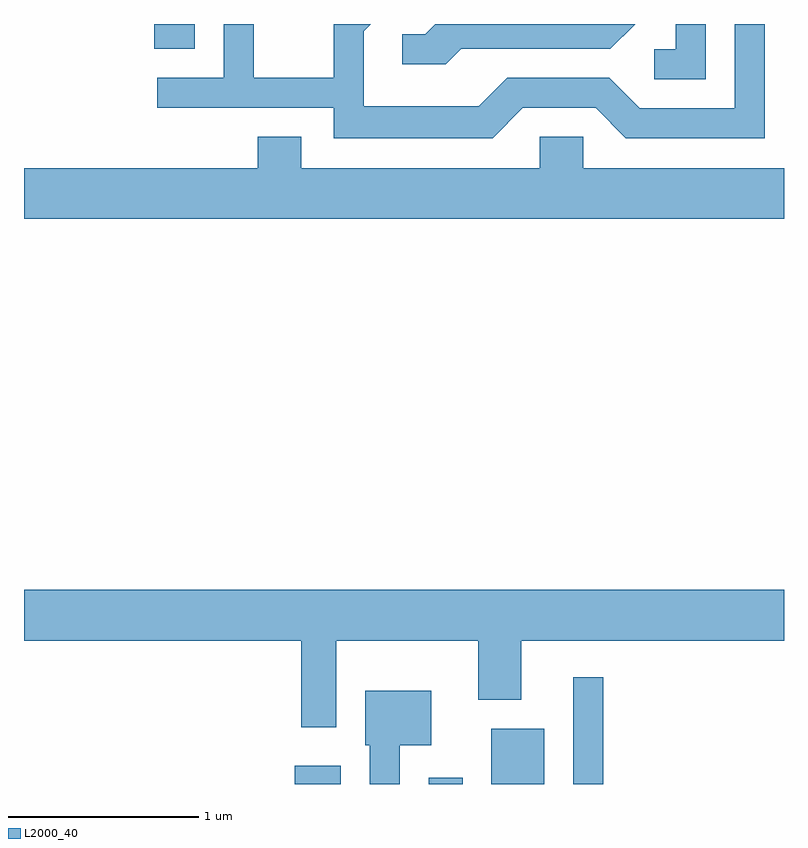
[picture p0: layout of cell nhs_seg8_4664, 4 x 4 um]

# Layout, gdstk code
import gdstk
lib = gdstk.Library(unit=1e-6, precision=1e-09)
def R(c, l, rs):  # rectangles x0, y0, x1, y1
    for r in rs: c.add(gdstk.rectangle(r[:2], r[2:], *l))
def P(c, l, *ps):  # polygons
    for p in ps: c.add(gdstk.Polygon(p, *l))
L2000_40 = (2000, 40)

nhs_seg8_4664 = lib.new_cell('nhs_seg8_4664')
R(nhs_seg8_4664, L2000_40, [(327.036,1822.342,327.279,1822.439), (327.741,1822.342,327.919,1822.374), (328.071,1822.342,328.349,1822.634), (328.501,1822.342,328.659,1822.903), (326.296,1826.211,326.509,1826.342)])
P(nhs_seg8_4664, L2000_40, [(328.237,1825.901),(328.619,1825.901),(328.779,1825.741),(329.509,1825.741),(329.509,1826.342),(329.351,1826.342),(329.351,1825.899),(328.852,1825.899),(328.692,1826.059),(328.154,1826.059),(328.004,1825.909),(327.399,1825.909),(327.399,1826.304),(327.437,1826.342),(327.241,1826.342),(327.241,1826.059),(326.819,1826.059),(326.819,1826.342),(326.661,1826.342),(326.661,1826.059),(326.313,1826.059),(326.313,1825.901),(327.241,1825.901),(327.241,1825.741),(328.077,1825.741)],
  [(329.199,1826.342),(329.041,1826.342),(329.041,1826.209),(328.928,1826.209),(328.928,1826.051),(329.199,1826.051)],
  [(327.912,1826.211),(328.697,1826.211),(328.827,1826.342),(327.776,1826.342),(327.724,1826.289),(327.603,1826.289),(327.603,1826.131),(327.832,1826.131)],
  [(329.611,1825.584),(328.554,1825.584),(328.554,1825.749),(328.326,1825.749),(328.326,1825.584),(327.069,1825.584),(327.069,1825.749),(326.841,1825.749),(326.841,1825.584),(325.611,1825.584),(325.611,1825.316),(329.611,1825.316)],
  [(327.254,1823.096),(328.001,1823.096),(328.001,1822.786),(328.229,1822.786),(328.229,1823.096),(329.611,1823.096),(329.611,1823.364),(325.611,1823.364),(325.611,1823.096),(327.071,1823.096),(327.071,1822.641),(327.254,1822.641)],
  [(327.589,1822.546),(327.754,1822.546),(327.754,1822.834),(327.406,1822.834),(327.406,1822.546),(327.431,1822.546),(327.431,1822.342),(327.589,1822.342)])

lib.write_gds('nhs_seg8_4664.gds')
